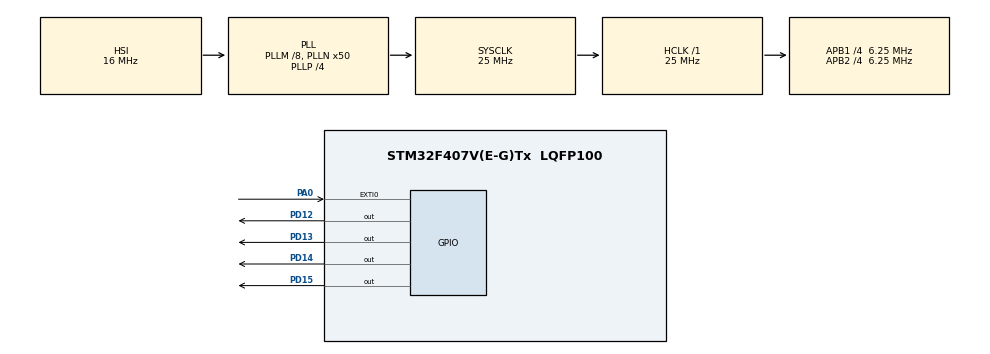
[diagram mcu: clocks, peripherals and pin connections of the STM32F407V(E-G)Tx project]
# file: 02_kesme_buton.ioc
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Mcu.Family=STM32F4
Mcu.Name=STM32F407V(E-G)Tx
Mcu.Package=LQFP100
NVIC.EXTI0_IRQn=true\:0\:0\:false\:false\:true\:true\:true\:true
NVIC.PriorityGroup=NVIC_PRIORITYGROUP_0
PA0-WKUP.GPIO_ModeDefaultEXTI=GPIO_MODE_IT_RISING
PA0-WKUP.GPIO_PuPd=GPIO_NOPULL
PA0-WKUP.Signal=GPXTI0
PA13.Mode=Serial_Wire
PA13.Signal=SYS_JTMS-SWDIO
PA14.Mode=Serial_Wire
PA14.Signal=SYS_JTCK-SWCLK
PD12.GPIO_Speed=GPIO_SPEED_FREQ_MEDIUM
PD12.Signal=GPIO_Output
PD13.GPIO_Speed=GPIO_SPEED_FREQ_MEDIUM
PD13.Signal=GPIO_Output
PD14.GPIO_Speed=GPIO_SPEED_FREQ_MEDIUM
PD14.Signal=GPIO_Output
PD15.GPIO_Speed=GPIO_SPEED_FREQ_MEDIUM
PD15.Signal=GPIO_Output
ProjectManager.HeapSize=0x200
ProjectManager.StackSize=0x400
ProjectManager.TargetToolchain=STM32CubeIDE
RCC.48MHZClocksFreq_Value=14285714.285714285
RCC.AHBFreq_Value=25000000
RCC.APB1CLKDivider=RCC_HCLK_DIV4
RCC.APB1Freq_Value=6250000
RCC.APB1TimFreq_Value=12500000
RCC.APB2CLKDivider=RCC_HCLK_DIV4
RCC.APB2Freq_Value=6250000
RCC.APB2TimFreq_Value=12500000
RCC.CortexFreq_Value=25000000
RCC.HCLKFreq_Value=25000000
RCC.HSE_VALUE=8000000
RCC.HSI_VALUE=16000000
RCC.PLLM=8
RCC.PLLN=50
RCC.PLLP=RCC_PLLP_DIV4
RCC.PLLQ=7
RCC.SYSCLKFreq_VALUE=25000000
RCC.SYSCLKSource=RCC_SYSCLKSOURCE_PLLCLK
RCC.VCOOutputFreq_Value=100000000
board=STM32F407G-DISC1

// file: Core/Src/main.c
/* USER CODE BEGIN Header */
/**
 ******************************************************************************
 * @file           : main.c
 * @brief          : Main program body
 ******************************************************************************
 * @attention
 *
 * Copyright (c) 2025 STMicroelectronics.
 * All rights reserved.
 *
 * This software is licensed under terms that can be found in the LICENSE file
 * in the root directory of this software component.
 * If no LICENSE file comes with this software, it is provided AS-IS.
 *
 ******************************************************************************
 */
/* USER CODE END Header */
#include "main.h"

/* USER CODE BEGIN PV */
uint16_t leds[] = { GPIO_PIN_12, GPIO_PIN_13, GPIO_PIN_14, GPIO_PIN_15 };  // LED PİNLERİNİ AYARLADIK
int kesmeBayrak = 0;       // KESMEYİ KONTROL EDER
int i;                     // FOR DÖNGÜSÜNDE KULLANILAN INT DEĞERİ
int butonSayac = 0;        // BUTONA KAÇ DEFA BASTIĞIMIZI SAYAR
/* USER CODE END PV */

void SystemClock_Config(void);
static void MX_GPIO_Init(void);

int main(void) {

	/* MCU Configuration--------------------------------------------------------*/

	/* Reset of all peripherals, Initializes the Flash interface and the Systick. */
	HAL_Init();

	/* Configure the system clock */
	SystemClock_Config();

	/* Initialize all configured peripherals */
	MX_GPIO_Init();

	/* Infinite loop */
	while (1) {

		/* USER CODE BEGIN 3 */

		HAL_GPIO_WritePin(GPIOD, GPIO_PIN_12 | GPIO_PIN_15, 1);  // 12 VE 15. PİNLERİ AKTİF ETTİK (ANA PROGRAM)

		if (kesmeBayrak) {  //KESME BAYRAĞI KONTROL EDİLİR 1 İSE İÇERİ GİRER.
			kesmeBayrak = 0;  //KESME BAYRAĞINI SIFIRLIYORUZ BİR SONRAKİNDE DÜZGÜNCE ÇALIŞMASI İÇİN

			/*
			 // BURADA BUTONA TIKLADIĞIMIZDA 14 VE 15 PİNLERİ AKTİF EDİYOR 12 Yİ KAPATIYOR ***
			 //  DAHA SONRA 2 SANİYE BEKLEDİĞİNDE 14 Ü KAPATIYOR VE KESMEDEN ÇIKIYOR.   ***

			 HAL_GPIO_WritePin(GPIOD, GPIO_PIN_14 | GPIO_PIN_15, 1);
			 HAL_GPIO_WritePin(GPIOD, GPIO_PIN_12, 0);
			 HAL_Delay(2000);
			 HAL_GPIO_WritePin(GPIOD, GPIO_PIN_14, 0);

			 */

			HAL_GPIO_WritePin(GPIOD, GPIO_PIN_12 | GPIO_PIN_15, 0);   // AÇIK OLAN LEDLERİ KAPADIK
			HAL_Delay(1000);   // 1 SANİYE BEKLEDİK

			if (butonSayac == 1) {  // BUTON 1 KERE BASILDIYSA BU FONKSİYONA GİRER

				for (i = 0; i < 4; ++i) {
					HAL_GPIO_WritePin(GPIOD, leds[i], 1);
					HAL_Delay(200);
				}
				for (i = 0; i < 4; ++i) {
					HAL_GPIO_WritePin(GPIOD, leds[i], 0);
					HAL_Delay(200);

				}
			} else if (butonSayac == 2) {   // BUTON 2 KERE BASILDIYSA BU FONKSİYONA GİRER
				HAL_Delay(200);
				for (i = 3; i >= 0; --i) {
					HAL_GPIO_WritePin(GPIOD, leds[i], 1);
					HAL_Delay(200);
				}
				HAL_GPIO_WritePin(GPIOD,
				GPIO_PIN_12 | GPIO_PIN_13 | GPIO_PIN_14 | GPIO_PIN_15, 0);
				HAL_Delay(100);
			}
			else if (butonSayac >= 3) {    // BUTON 3 KERE VE DAHA ÜSTÜ BASILDIĞINDA BİR ŞEY YAPMAYIP KESMEDEN ÇIKMASINI SAĞLAR

			}

			butonSayac = 0 ;  // KESMEDEN ÇIKMADAN ÖNCE BUTON SAYACI 0 LIYORUZ ÇÜNKÜ BUTONA TEKRAR BASILDIĞINDA 1 DEN BAŞLAMASINI İSTİYORUZ.
		}

	}
	/* USER CODE END 3 */
}

void SystemClock_Config(void) {
	RCC_OscInitTypeDef RCC_OscInitStruct = { 0 };
	RCC_ClkInitTypeDef RCC_ClkInitStruct = { 0 };

	/** Configure the main internal regulator output voltage
	 */
	__HAL_RCC_PWR_CLK_ENABLE();
	__HAL_PWR_VOLTAGESCALING_CONFIG(PWR_REGULATOR_VOLTAGE_SCALE1);

	/** Initializes the RCC Oscillators according to the specified parameters
	 * in the RCC_OscInitTypeDef structure.
	 */
	RCC_OscInitStruct.OscillatorType = RCC_OSCILLATORTYPE_HSI;
	RCC_OscInitStruct.HSIState = RCC_HSI_ON;
	RCC_OscInitStruct.HSICalibrationValue = RCC_HSICALIBRATION_DEFAULT;
	RCC_OscInitStruct.PLL.PLLState = RCC_PLL_ON;
	RCC_OscInitStruct.PLL.PLLSource = RCC_PLLSOURCE_HSI;
	RCC_OscInitStruct.PLL.PLLM = 8;
	RCC_OscInitStruct.PLL.PLLN = 50;
	RCC_OscInitStruct.PLL.PLLP = RCC_PLLP_DIV4;
	RCC_OscInitStruct.PLL.PLLQ = 7;
	if (HAL_RCC_OscConfig(&RCC_OscInitStruct) != HAL_OK) {
		Error_Handler();
	}

	/** Initializes the CPU, AHB and APB buses clocks
	 */
	RCC_ClkInitStruct.ClockType = RCC_CLOCKTYPE_HCLK | RCC_CLOCKTYPE_SYSCLK
			| RCC_CLOCKTYPE_PCLK1 | RCC_CLOCKTYPE_PCLK2;
	RCC_ClkInitStruct.SYSCLKSource = RCC_SYSCLKSOURCE_PLLCLK;
	RCC_ClkInitStruct.AHBCLKDivider = RCC_SYSCLK_DIV1;
	RCC_ClkInitStruct.APB1CLKDivider = RCC_HCLK_DIV4;
	RCC_ClkInitStruct.APB2CLKDivider = RCC_HCLK_DIV4;

	if (HAL_RCC_ClockConfig(&RCC_ClkInitStruct, FLASH_LATENCY_0) != HAL_OK) {
		Error_Handler();
	}
}

static void MX_GPIO_Init(void) {
	GPIO_InitTypeDef GPIO_InitStruct = { 0 };

	/* GPIO Ports Clock Enable */
	__HAL_RCC_GPIOA_CLK_ENABLE();
	__HAL_RCC_GPIOD_CLK_ENABLE();

	/*Configure GPIO pin Output Level */
	HAL_GPIO_WritePin(GPIOD,
	GPIO_PIN_12 | GPIO_PIN_13 | GPIO_PIN_14 | GPIO_PIN_15, GPIO_PIN_RESET);

	/*Configure GPIO pin : PA0 */
	GPIO_InitStruct.Pin = GPIO_PIN_0;
	GPIO_InitStruct.Mode = GPIO_MODE_IT_RISING;
	GPIO_InitStruct.Pull = GPIO_NOPULL;
	HAL_GPIO_Init(GPIOA, &GPIO_InitStruct);

	/*Configure GPIO pins : PD12 PD13 PD14 PD15 */
	GPIO_InitStruct.Pin = GPIO_PIN_12 | GPIO_PIN_13 | GPIO_PIN_14 | GPIO_PIN_15;
	GPIO_InitStruct.Mode = GPIO_MODE_OUTPUT_PP;
	GPIO_InitStruct.Pull = GPIO_NOPULL;
	GPIO_InitStruct.Speed = GPIO_SPEED_FREQ_MEDIUM;
	HAL_GPIO_Init(GPIOD, &GPIO_InitStruct);

	/* EXTI interrupt init*/
	HAL_NVIC_SetPriority(EXTI0_IRQn, 0, 0);
	HAL_NVIC_EnableIRQ(EXTI0_IRQn);

}

/* USER CODE BEGIN 4 */
void HAL_GPIO_EXTI_Callback(uint16_t GPIO_Pin) {   // BUTONA BASILDIĞINDA ÇAĞIRILIR.

	if (GPIO_Pin == GPIO_PIN_0) {                  //BUTONA PA0 DAN MI BASILDI KONTROL EDİLİR.
		kesmeBayrak = 1;                           //KESME BAYRAK DURUMUNU 1 YAPAR
		butonSayac++;                              //BUTON SAYICINI BASTIKÇA ARTMASINI SAĞLAR

	}

}
/* USER CODE END 4 */

void Error_Handler(void) {
	__disable_irq();
	while (1) {
	}
}
